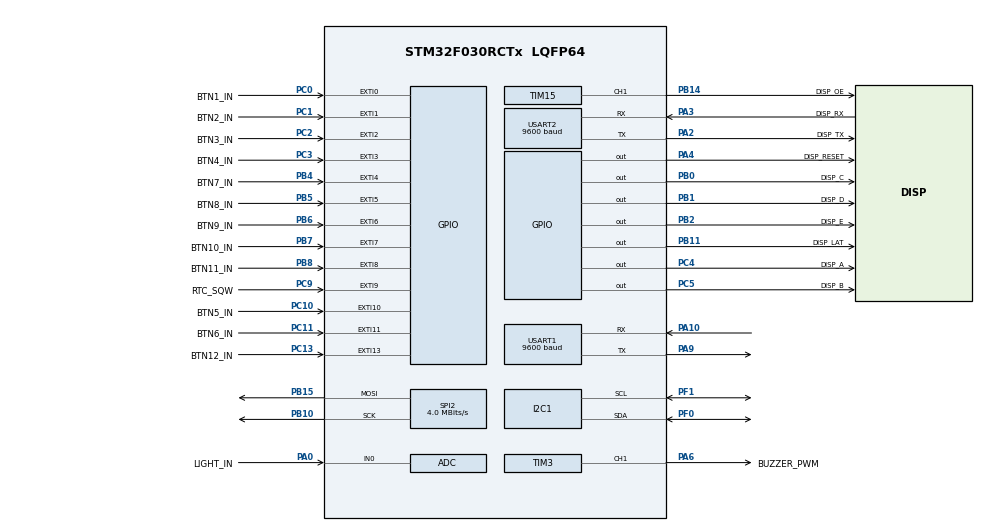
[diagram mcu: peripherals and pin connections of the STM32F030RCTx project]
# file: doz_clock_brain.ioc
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ADC.ContinuousConvMode=ENABLE
ADC.DMAContinuousRequests=ENABLE
ADC.Overrun=ADC_OVR_DATA_OVERWRITTEN
Dma.ADC.0.Direction=DMA_PERIPH_TO_MEMORY
Dma.ADC.0.Instance=DMA1_Channel1
Dma.ADC.0.MemDataAlignment=DMA_MDATAALIGN_HALFWORD
Dma.ADC.0.MemInc=DMA_MINC_ENABLE
Dma.ADC.0.Mode=DMA_CIRCULAR
Dma.ADC.0.PeriphDataAlignment=DMA_PDATAALIGN_HALFWORD
Dma.ADC.0.PeriphInc=DMA_PINC_DISABLE
Dma.ADC.0.Priority=DMA_PRIORITY_LOW
Dma.Request0=ADC
Dma.Request1=SPI2_TX
Dma.SPI2_TX.1.Direction=DMA_MEMORY_TO_PERIPH
Dma.SPI2_TX.1.Instance=DMA1_Channel5
Dma.SPI2_TX.1.MemDataAlignment=DMA_MDATAALIGN_BYTE
Dma.SPI2_TX.1.MemInc=DMA_MINC_ENABLE
Dma.SPI2_TX.1.Mode=DMA_NORMAL
Dma.SPI2_TX.1.PeriphDataAlignment=DMA_PDATAALIGN_BYTE
Dma.SPI2_TX.1.PeriphInc=DMA_PINC_DISABLE
Dma.SPI2_TX.1.Priority=DMA_PRIORITY_LOW
Mcu.Family=STM32F0
Mcu.Name=STM32F030RCTx
Mcu.Package=LQFP64
NVIC.ADC1_IRQn=true\:3\:0\:true\:false\:true\:true\:true\:true
NVIC.DMA1_Channel1_IRQn=true\:3\:0\:true\:false\:true\:false\:true\:true
NVIC.DMA1_Channel4_5_IRQn=true\:1\:0\:true\:false\:true\:false\:true\:true
NVIC.EXTI0_1_IRQn=true\:2\:0\:true\:false\:true\:true\:true\:true
NVIC.EXTI2_3_IRQn=true\:2\:0\:true\:false\:true\:true\:true\:true
NVIC.EXTI4_15_IRQn=true\:2\:0\:true\:false\:true\:true\:true\:true
NVIC.RTC_IRQn=true\:3\:0\:true\:false\:true\:true\:true\:true
NVIC.TIM15_IRQn=true\:1\:0\:true\:false\:true\:true\:true\:true
NVIC.TIM6_IRQn=true\:3\:0\:true\:false\:true\:true\:true\:true
NVIC.TIM7_IRQn=true\:0\:0\:false\:false\:true\:true\:true\:true
PA0.GPIO_Label=LIGHT_IN
PA0.Mode=IN0
PA0.Signal=ADC_IN0
PA10.Mode=Asynchronous
PA10.Signal=USART1_RX
PA13.Mode=Serial_Wire
PA13.Signal=SYS_SWDIO
PA14.Mode=Serial_Wire
PA14.Signal=SYS_SWCLK
PA2.GPIO_Label=DISP_TX
PA2.Mode=Asynchronous
PA2.Signal=USART2_TX
PA3.GPIO_Label=DISP_RX
PA3.Mode=Asynchronous
PA3.Signal=USART2_RX
PA4.GPIO_Label=DISP_RESET
PA4.Signal=GPIO_Output
PA6.GPIO_Label=BUZZER_PWM
PA6.Signal=S_TIM3_CH1
PA9.Mode=Asynchronous
PA9.Signal=USART1_TX
PB0.GPIO_Label=DISP_C
PB0.Signal=GPIO_Output
PB1.GPIO_Label=DISP_D
PB1.Signal=GPIO_Output
PB10.Mode=TX_Only_Simplex_Unidirect_Master
PB10.Signal=SPI2_SCK
PB11.GPIO_Label=DISP_LAT
PB11.Signal=GPIO_Output
PB14.GPIO_Label=DISP_OE
PB14.Signal=S_TIM15_CH1
PB15.Mode=TX_Only_Simplex_Unidirect_Master
PB15.Signal=SPI2_MOSI
PB2.GPIO_Label=DISP_E
PB2.Signal=GPIO_Output
PB4.GPIO_Label=BTN7_IN
PB4.GPIO_ModeDefaultEXTI=GPIO_MODE_IT_RISING_FALLING
PB4.Signal=GPXTI4
PB5.GPIO_Label=BTN8_IN
PB5.GPIO_ModeDefaultEXTI=GPIO_MODE_IT_RISING_FALLING
PB5.Signal=GPXTI5
PB6.GPIO_Label=BTN9_IN
PB6.GPIO_ModeDefaultEXTI=GPIO_MODE_IT_RISING_FALLING
PB6.Signal=GPXTI6
PB7.GPIO_Label=BTN10_IN
PB7.GPIO_ModeDefaultEXTI=GPIO_MODE_IT_RISING_FALLING
PB7.Signal=GPXTI7
PB8.GPIO_Label=BTN11_IN
PB8.GPIO_ModeDefaultEXTI=GPIO_MODE_IT_RISING_FALLING
PB8.Signal=GPXTI8
PC0.GPIO_Label=BTN1_IN
PC0.GPIO_ModeDefaultEXTI=GPIO_MODE_IT_RISING_FALLING
PC0.Signal=GPXTI0
PC1.GPIO_Label=BTN2_IN
PC1.GPIO_ModeDefaultEXTI=GPIO_MODE_IT_RISING_FALLING
PC1.Signal=GPXTI1
PC10.GPIO_Label=BTN5_IN
PC10.GPIO_ModeDefaultEXTI=GPIO_MODE_IT_RISING_FALLING
PC10.Signal=GPXTI10
PC11.GPIO_Label=BTN6_IN
PC11.GPIO_ModeDefaultEXTI=GPIO_MODE_IT_RISING_FALLING
PC11.Signal=GPXTI11
PC13.GPIO_Label=BTN12_IN
PC13.GPIO_ModeDefaultEXTI=GPIO_MODE_IT_RISING_FALLING
PC13.Signal=GPXTI13
PC2.GPIO_Label=BTN3_IN
PC2.GPIO_ModeDefaultEXTI=GPIO_MODE_IT_RISING_FALLING
PC2.Signal=GPXTI2
PC3.GPIO_Label=BTN4_IN
PC3.GPIO_ModeDefaultEXTI=GPIO_MODE_IT_RISING_FALLING
PC3.Signal=GPXTI3
PC4.GPIO_Label=DISP_A
PC4.Signal=GPIO_Output
PC5.GPIO_Label=DISP_B
PC5.Signal=GPIO_Output
PC9.GPIO_Label=RTC_SQW
PC9.GPIO_ModeDefaultEXTI=GPIO_MODE_IT_FALLING
PC9.GPIO_PuPd=GPIO_PULLUP
PC9.Signal=GPXTI9
PF0-OSC_IN.Mode=I2C
PF0-OSC_IN.Signal=I2C1_SDA
PF1-OSC_OUT.Mode=I2C
PF1-OSC_OUT.Signal=I2C1_SCL
ProjectManager.HeapSize=0x200
ProjectManager.StackSize=0x400
ProjectManager.TargetToolchain=STM32CubeIDE
RTC.Alarm-Alarm\ A=RTC_ALARM_A
SH.S_TIM15_CH1.0=TIM15_CH1,PWM Generation1 CH1
SH.S_TIM3_CH1.0=TIM3_CH1,PWM Generation1 CH1
SPI2.CalculateBaudRate=4.0 MBits/s
SPI2.DataSize=SPI_DATASIZE_8BIT
SPI2.Direction=SPI_DIRECTION_2LINES
SPI2.Mode=SPI_MODE_MASTER
SPI2.VirtualType=VM_MASTER
TIM15.Channel-PWM\ Generation1\ CH1=TIM_CHANNEL_1
TIM15.Period=4159
TIM3.Channel-PWM\ Generation1\ CH1=TIM_CHANNEL_1
TIM3.Period=18180-1
TIM3.Prescaler=0
TIM6.Period=4000-1
TIM6.Prescaler=1000-1
USART1.BaudRate=9600
USART1.VirtualMode-Asynchronous=VM_ASYNC
USART2.BaudRate=9600
USART2.VirtualMode-Asynchronous=VM_ASYNC
VP_RTC_VS_RTC_Activate.Mode=RTC_Enabled
VP_RTC_VS_RTC_Alarm_A_Intern.Mode=Alarm A
VP_RTC_VS_RTC_Calendar.Mode=RTC_Calendar
VP_TIM15_VS_ClockSourceINT.Mode=Internal
VP_TIM3_VS_ClockSourceINT.Mode=Internal
VP_TIM6_VS_ClockSourceINT.Mode=Enable_Timer
VP_TIM7_VS_ClockSourceINT.Mode=Enable_Timer
board=custom

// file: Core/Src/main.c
/* USER CODE BEGIN Header */
/**
  ******************************************************************************
  * @file           : main.c
  * @brief          : Main program body
  ******************************************************************************
  * @attention
  *
  * Copyright (c) 2024 STMicroelectronics.
  * All rights reserved.
  *
  * This software is licensed under terms that can be found in the LICENSE file
  * in the root directory of this software component.
  * If no LICENSE file comes with this software, it is provided AS-IS.
  *
  ******************************************************************************
  */
/* USER CODE END Header */
//#include <rtc-module.h>
#include "main.h"
#include "adc.h"
#include "dma.h"
#include "i2c.h"
#include "rtc.h"
#include "spi.h"
#include "tim.h"
#include "usart.h"
#include "gpio.h"

/* USER CODE BEGIN Includes */

#include "clock_types.h"
#include "doz_clock.h"
#include "event_queue.h"
#include "rtc_module.h"

#include "buzzer.h"
#include "display.h"
#include "gps.h"
#include "adc-light-sens.h"
#include "hub75-driver.h"
#include "hub75-driver.h"
#include "i2c-rtc.h"
#include "gpio-buttons.h"
#include "pwm-buzzer.h"
#include "rtc-internal.h"

/* USER CODE END Includes */

/* USER CODE BEGIN PV */
DozClock doz_clock;

Display rgb_matrix;
Gps neo6m;
Rtc rtc_internal;
Rtc ds3231;
Buzzer buzzer;

/* USER CODE END PV */

void SystemClock_Config(void);

int main(void)
{

  /* MCU Configuration--------------------------------------------------------*/

  /* Reset of all peripherals, Initializes the Flash interface and the Systick. */
  HAL_Init();

  /* Configure the system clock */
  SystemClock_Config();

  /* Initialize all configured peripherals */
  MX_GPIO_Init();
  MX_DMA_Init();
  MX_I2C1_Init();
  MX_USART1_UART_Init();
  MX_USART2_UART_Init();
  MX_TIM3_Init();
  MX_ADC_Init();
  MX_TIM6_Init();
  MX_SPI2_Init();
  MX_TIM7_Init();
  MX_TIM15_Init();
  MX_RTC_Init();
  /* USER CODE BEGIN 2 */

  // Buzzer
  PKM22E_Init(&htim3, TIM_CHANNEL_1);
  buzzer.setDutyCycle   = PKM22E_SetDutyCyle;
  buzzer.startPwm       = PKM22E_StartPwm;
  buzzer.stopPwm        = PKM22E_StopPwm;
  doz_clock.buzzer = &buzzer;

  // Internal RTC
   RTC_Init(&hrtc);
   rtc_internal.enableAlarm  = RTC_EnableAlarm;
   rtc_internal.getAlarm     = RTC_GetAlarm;
   rtc_internal.getDay       = RTC_GetDay;
   rtc_internal.getMonth     = RTC_GetMonth;
   rtc_internal.getTime      = RTC_GetTime;
   rtc_internal.setAlarm     = RTC_SetAlarm;
   rtc_internal.setDay       = RTC_SetDay;
   rtc_internal.setMonth     = RTC_SetMonth;
   rtc_internal.setRtcTime   = RTC_SetTime;
   doz_clock.rtc = &rtc_internal;

  // External RTC
//  DS3231_Init(&hi2c1);
//  ds3231.enableAlarm = DS3231_EnableAlarm;
//  ds3231.getAlarm = DS3231_GetAlarm;
//  ds3231.getTime = DS3231_GetTime;
//  ds3231.getDay = DS3231_GetDate;
//  ds3231.getMonth = DS3231_GetMonth;
//  ds3231.setAlarm = DS3231_SetAlarm;
//  ds3231.setDay = DS3231_SetDate;
//  ds3231.setMonth = DS3231_SetMonth;
//  ds3231.setRtcTime = DS3231_SetTime;
//  doz_clock.rtc = &ds3231;

  // Display
  HUB75_Init(&hspi2, &htim15, TIM_CHANNEL_1);
  rgb_matrix.displayOff     = HUB75_DisplayOff;
  rgb_matrix.displayOn      = HUB75_DisplayOn;
  rgb_matrix.setBrightness  = HUB75_SetDisplayBrightness;
  rgb_matrix.setBitmap      = HUB75_SetBitmap;
  rgb_matrix.setColour      = HUB75_SetColour;
  rgb_matrix.show           = HUB75_Show;
  rgb_matrix.hide           = HUB75_Hide;
  doz_clock.display = &rgb_matrix;

  // Doz Clock
  doz_clock.error_handler = Error_Handler;
  DozClock_Init(&doz_clock);

  // Buttons
  Buttons_Init();

  // Light sensor
  LightSens_Init(&hadc, 1600);

  // Start 2Hz timer
  HAL_TIM_Base_Start_IT(&htim6);

  // Start 6Hz timer
  HAL_TIM_Base_Start_IT(&htim7);

  /* USER CODE END 2 */

  /* Infinite loop */
  /* USER CODE BEGIN WHILE */
  while (1)
  {
    DozClock_Update();

      utc = GPS_get_utc_time();
      status = GPS_get_gps_connected();
      HAL_Delay(500);
    /* USER CODE END WHILE */

  }
}

void SystemClock_Config(void)
{
  RCC_OscInitTypeDef RCC_OscInitStruct = {0};
  RCC_ClkInitTypeDef RCC_ClkInitStruct = {0};
  RCC_PeriphCLKInitTypeDef PeriphClkInit = {0};

  /** Initializes the RCC Oscillators according to the specified parameters
  * in the RCC_OscInitTypeDef structure.
  */
  RCC_OscInitStruct.OscillatorType = RCC_OSCILLATORTYPE_HSI|RCC_OSCILLATORTYPE_HSI14
                              |RCC_OSCILLATORTYPE_LSI;
  RCC_OscInitStruct.HSIState = RCC_HSI_ON;
  RCC_OscInitStruct.HSI14State = RCC_HSI14_ON;
  RCC_OscInitStruct.HSICalibrationValue = RCC_HSICALIBRATION_DEFAULT;
  RCC_OscInitStruct.HSI14CalibrationValue = 16;
  RCC_OscInitStruct.LSIState = RCC_LSI_ON;
  RCC_OscInitStruct.PLL.PLLState = RCC_PLL_NONE;
  if (HAL_RCC_OscConfig(&RCC_OscInitStruct) != HAL_OK)
  {
    Error_Handler();
  }

  /** Initializes the CPU, AHB and APB buses clocks
  */
  RCC_ClkInitStruct.ClockType = RCC_CLOCKTYPE_HCLK|RCC_CLOCKTYPE_SYSCLK
                              |RCC_CLOCKTYPE_PCLK1;
  RCC_ClkInitStruct.SYSCLKSource = RCC_SYSCLKSOURCE_HSI;
  RCC_ClkInitStruct.AHBCLKDivider = RCC_SYSCLK_DIV1;
  RCC_ClkInitStruct.APB1CLKDivider = RCC_HCLK_DIV1;

  if (HAL_RCC_ClockConfig(&RCC_ClkInitStruct, FLASH_LATENCY_0) != HAL_OK)
  {
    Error_Handler();
  }
  PeriphClkInit.PeriphClockSelection = RCC_PERIPHCLK_USART1|RCC_PERIPHCLK_I2C1
                              |RCC_PERIPHCLK_RTC;
  PeriphClkInit.Usart1ClockSelection = RCC_USART1CLKSOURCE_PCLK1;
  PeriphClkInit.I2c1ClockSelection = RCC_I2C1CLKSOURCE_HSI;
  PeriphClkInit.RTCClockSelection = RCC_RTCCLKSOURCE_LSI;
  if (HAL_RCCEx_PeriphCLKConfig(&PeriphClkInit) != HAL_OK)
  {
    Error_Handler();
  }
}

/* USER CODE BEGIN 4 */

void HAL_GPIO_EXTI_Callback(uint16_t pin)
{
    if (pin != RTC_SQW_Pin)
    {
        Buttons_GpioCallback(pin);
    }
    else
    {
    	if (DS3231_IsAlarm1Triggered()) {
    		EventQ_TriggerAlarmEvent(ALARM_TRIG);
    	} else if (DS3231_IsAlarm2Triggered()) {
    		EventQ_TriggerAlarmEvent(TIMER_TRIG);
    	}
    }
}

void HAL_TIM_PeriodElapsedCallback(TIM_HandleTypeDef *htim)
{
    if(htim == &htim7)
    {
        // 6 Hz freq
        Buttons_TimerCallback(167);
        DozClock_TimerCallback();
    }
    else if(htim == &htim6)
    {
        // 2 Hz freq
        LightSens_AdcStartConversion();
    }
    else if(htim == &htim15)
    {
        HUB75_PwmStartPulse();
    }
}

void HAL_ADC_ConvHalfCpltCallback(ADC_HandleTypeDef* hadc)
{
    LightSens_AdcConversionCallback();
}

/* USER CODE END 4 */

void Error_Handler(void)
{
  __disable_irq();
  while (1)
  {
  }
}
